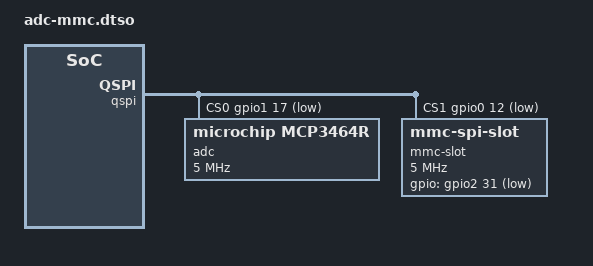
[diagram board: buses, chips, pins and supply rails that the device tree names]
// SPDX-License-Identifier: (GPL-2.0 OR MIT)
/* Copyright (c) 2025 Microchip Technology Inc */

/dts-v1/;
/plugin/;

&{/chosen} {
	overlays {
		QSPI-DRIVES-ADC = "GATEWARE_GIT_VERSION";
	};
};

&qspi {
	#address-cells = <1>;
	#size-cells = <0>;

	status = "okay";

	cs-gpios = <&gpio1 17 1>, <&gpio0 12 1>;

	adc@0 {
		compatible = "microchip,mcp3464r";
		reg = <0>;
		spi-max-frequency = <5000000>;
		microchip,hw-device-address = <1>;
		spi-cpol;
		spi-cpha;

		#address-cells = <1>;
		#size-cells = <0>;

		channel@0 {
			/* CH0 to AGND */
			reg = <0>;
			label = "CH0";
		};

		channel@1 {
			/* CH1 to AGND */
			reg = <1>;
			label = "CH1";
		};

		channel@2 {
			/* CH2 to AGND */
			reg = <2>;
			label = "CH2";
		};

		channel@3 {
			/* CH3 to AGND */
			reg = <3>;
			label = "CH3";
		};

		channel@4 {
			/* CH4 to AGND */
			reg = <4>;
			label = "CH4";
		};

		channel@5 {
			/* CH5 to AGND */
			reg = <5>;
			label = "CH5";
		};

		channel@6 {
			/* CH6 to AGND */
			reg = <6>;
			label = "CH6";
		};

		channel@7 {
			/* CH7 is connected to AGND */
			reg = <7>;
			label = "CH7";
		};
	};

	mmc-slot@1 {
		compatible = "mmc-spi-slot";
		reg = <1>;
		gpios = <&gpio2 31 1>;
		voltage-ranges = <3300 3300>;
		spi-max-frequency = <5000000>;
		disable-wp;
	};
};
